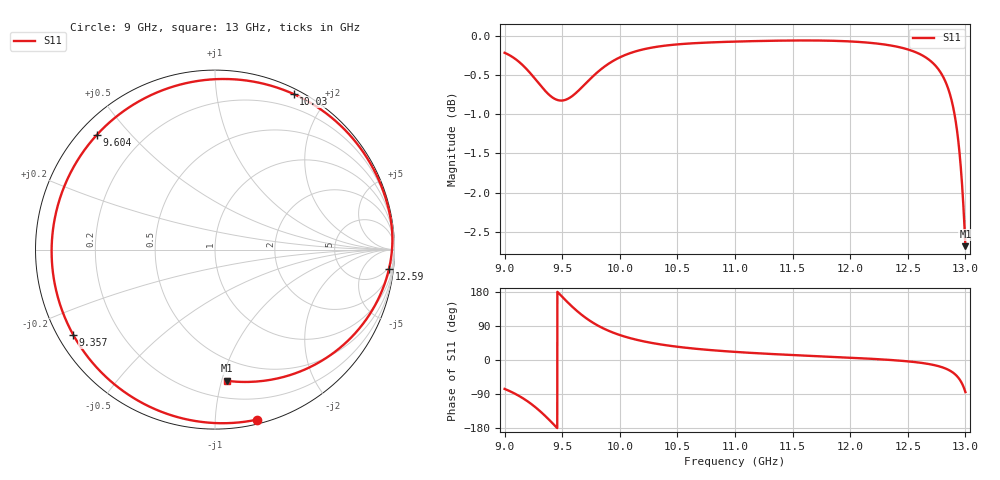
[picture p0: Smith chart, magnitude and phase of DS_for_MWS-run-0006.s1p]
! TOUCHSTONE file generated by CST DESIGN STUDIO
! Date and time: Tue Feb  4 16:43:50 2025
! Project name: C:\Work\MatlabApps\UnitCellOptimizationMatlab\CST\unitcell.cst
! Tree item: Tasks\Sweep1\SPara1\S-Parameters
! Header version: 2024
! Port assignment regex: !\s*Touchstone port\s*([0-9]+)\s*=\s*(CST MWS port|CST DES external port|CST DES block port)\s*(.+)\s* \(\"(.*)\"\)(\s*mode\s*([0-9]+))?.*
! Touchstone port assignment:
! Touchstone port 1 = CST DES external port 1 ("")
# GHz S MA R 50
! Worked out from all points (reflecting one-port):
!   4001 points, 9 GHz to 13 GHz, reference 50 ohm
!   lowest |S11| = -2.7 dB at 13 GHz (marker M1), VSWR 6.52, Z = 16.4 - j52.1 ohm
!   phase of S11 starts at -76 deg and turns -368 deg over the sweep
!   S11 on the Smith chart (normalised r, x): 9 GHz: 0.03, -1.27; 9.357 GHz: 0.04, -0.28; 9.604 GHz: 0.05, +0.40; 10.03 GHz: 0.05, +1.62; 12.59 GHz: 4, -17; 13 GHz: 0.33, -1.04
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9  0.9757 -76.3
9.113  0.9643 -92.7
9.201  0.9508 -109.4
9.28  0.9359 -127.8
9.357  0.9217 -148.9
9.43  0.9122 -171.2
9.5  0.9095 166.7
9.548  0.9117 152.0
9.604  0.9176 135.9
9.681  0.929 116.4
9.765  0.9422 98.8
9.88  0.9576 80.1
10  0.9691 65.9
10.027  0.9711 63.2
10.232  0.9816 47.7
10.5  0.9878 34.9
11  0.9919 21.4
11.5  0.9935 13.1
12  0.9921 6.0
12.5  0.9805 -3.6
12.587  0.9752 -6.4
12.756  0.9543 -15.4
12.824  0.9362 -22.0
12.876  0.9123 -29.9
12.912  0.8857 -38.1
12.941  0.8536 -47.6
12.974  0.7978 -64.1
13  0.7341 -84.7
